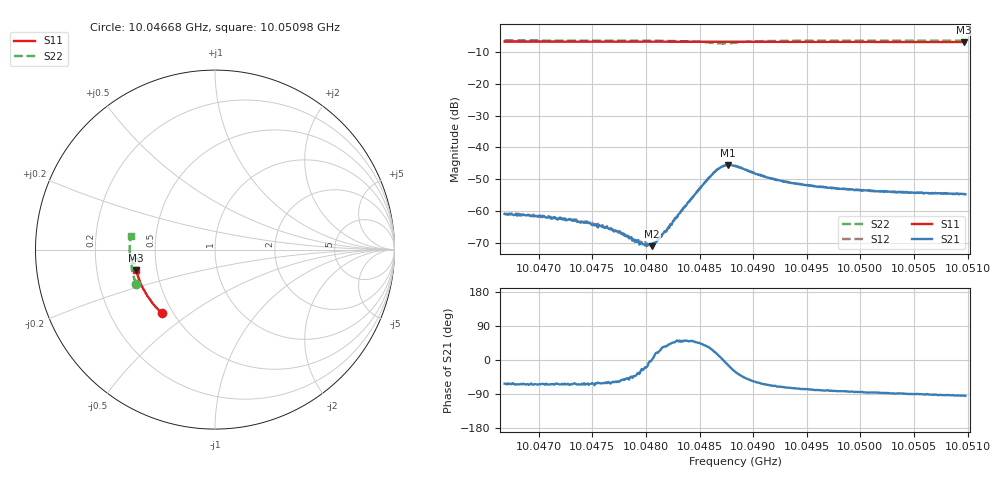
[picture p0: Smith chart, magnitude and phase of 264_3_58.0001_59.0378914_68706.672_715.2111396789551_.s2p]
#  HZ  S  RI  R  50.00
! Rohde & Schwarz Vector Network Analyzer
! Rohde-Schwarz,ZNB20-2Port,1311601062101988,3.16
! Created: UTC 3/21/2024, 1:02:06 AM
! freq[Hz]  re:S11  im:S11  re:S21  im:S21  re:S12  im:S12  re:S22  im:S22
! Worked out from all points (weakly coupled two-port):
!   401 points, 10.04668 GHz to 10.05098 GHz, reference 50 ohm
!   highest |S21| = -45.56 dB at 10.04877 GHz (marker M1); lowest = -71.0 dB at 10.04806 GHz (marker M2)
!   lowest |S11| = -6.9 dB at 10.05097 GHz (marker M3), VSWR 2.66, Z = 19.1 - j5.52 ohm
!   |S11| at or under -10 dB: nowhere
!   |S22| runs from -7.4 to -6.4 dB; largest |S21 - S12| = 0.00037
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1.0046681e10  -0.2958 -0.3534  0.000419 -0.000798  0.00047 -0.000765  -0.4394 -0.1919
1.0047068e10  -0.3144 -0.3359  0.000367 -0.000697  0.000428 -0.00072  -0.4486 -0.1674
1.0047305e10  -0.3252 -0.3245  0.00032 -0.000647  0.000352 -0.00064  -0.4536 -0.1517
1.0047401e10  -0.3296 -0.32  0.00031 -0.000604  0.000332 -0.000591  -0.4553 -0.1453
1.0047455e10  -0.332 -0.3173  0.000309 -0.000579  0.000339 -0.000582  -0.4562 -0.1416
1.0047573e10  -0.3371 -0.3116  0.000277 -0.000511  0.000321 -0.000507  -0.4584 -0.1335
1.0047745e10  -0.3447 -0.3028  0.000254 -0.000406  0.000271 -0.000366  -0.4611 -0.1213
1.0047874e10  -0.3498 -0.2961  0.000238 -0.000257  0.000264 -0.000217  -0.4626 -0.1117
1.004796e10  -0.3534 -0.2917  0.000286 -0.000125  0.000301 -0.00012  -0.4637 -0.1052
1.0048025e10  -0.3558 -0.2882  0.000297 -4.06e-05  0.00029 -1.17e-05  -0.4641 -0.1001
1.0048057e10  -0.3573 -0.2865  0.00028 6.11e-06  0.000303 1.55e-05  -0.4643 -0.0976
1.0048121e10  -0.3598 -0.2832  0.00033 0.000138  0.000322 0.000173  -0.4646 -0.0922
1.0048369e10  -0.3692 -0.2698  0.000753 0.000922  0.000721 0.000976  -0.4619 -0.0693
1.0048605e10  -0.3776 -0.2567  0.0031 0.00175  0.00302 0.00195  -0.4399 -0.0495
1.0048691e10  -0.3805 -0.252  0.00474 0.000695  0.00472 0.000984  -0.4263 -0.0567
1.0048766e10  -0.3831 -0.248  0.00511 -0.00128  0.00524 -0.000926  -0.4259 -0.0712
1.0048831e10  -0.3852 -0.2445  0.00438 -0.00259  0.00461 -0.00233  -0.4352 -0.0788
1.0049174e10  -0.3968 -0.2249  0.00122 -0.00298  0.00142 -0.00292  -0.468 -0.0555
1.0049551e10  -0.4078 -0.2027  0.000509 -0.00244  0.000673 -0.0024  -0.4746 -0.0246
1.0050271e10  -0.4257 -0.159  9.94e-05 -0.00203  0.000201 -0.00203  -0.4752 0.0268
1.0050969e10  -0.4385 -0.115  -0.000119 -0.00183  -3.09e-05 -0.00185  -0.4699 0.0738
1.005098e10  -0.4388 -0.1143  -0.000148 -0.00183  -1.73e-05 -0.00185  -0.4698 0.0745
